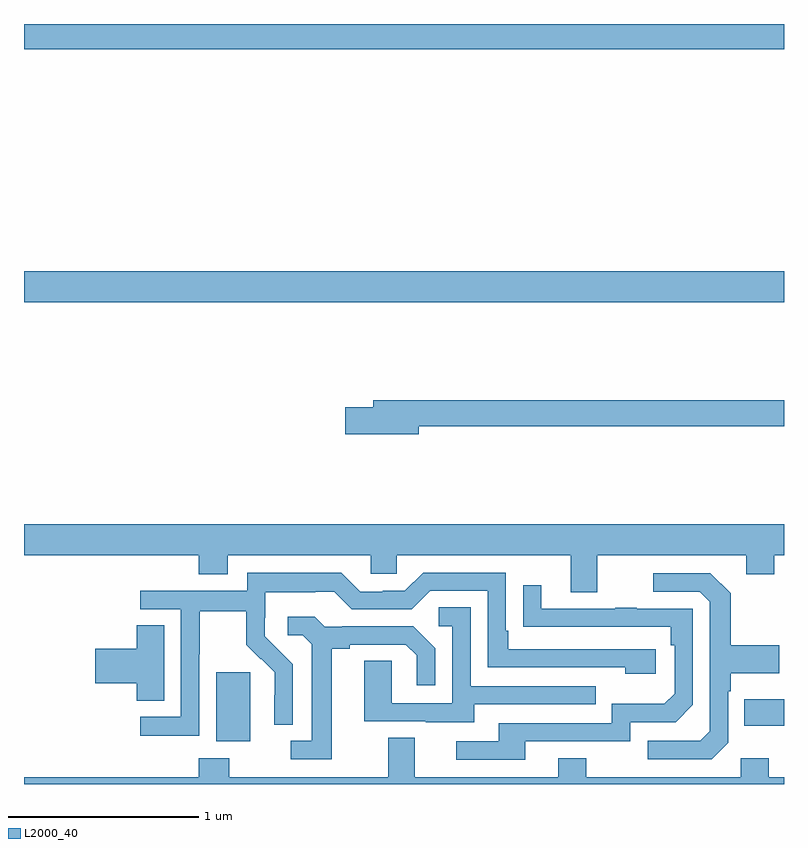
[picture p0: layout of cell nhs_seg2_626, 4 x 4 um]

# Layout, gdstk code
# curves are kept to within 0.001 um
import gdstk
lib = gdstk.Library(unit=1e-6, precision=1e-09)
def R(c, l, rs):  # rectangles x0, y0, x1, y1
    for r in rs: c.add(gdstk.rectangle(r[:2], r[2:], *l))
def P(c, l, *ps):  # polygons
    for p in ps: c.add(gdstk.Polygon(p, *l))
L2000_40 = (2000, 40)

nhs_seg2_626 = lib.new_cell('nhs_seg2_626')
R(nhs_seg2_626, L2000_40, [(144.011,612.026,144.19,612.387), (146.791,612.107,147,612.247), (143,614.336,147,614.5), (143,615.668,147,615.8)])
P(nhs_seg2_626, L2000_40, [(145.078,613.684),(147,613.684),(147,613.82),(144.839,613.82),(144.839,613.784),(144.69,613.784),(144.69,613.642),(145.078,613.642)],
  [(146.017,613.004),(146.801,613.004),(146.801,612.905),(146.949,612.905),(146.949,613.004),(147,613.004),(147,613.168),(143,613.168),(143,613.004),(143.921,613.004),(143.921,612.905),(144.073,612.905),(144.073,613.004),(144.825,613.004),(144.825,612.906),(144.963,612.906),(144.963,613.004),(145.877,613.004),(145.877,612.81),(146.017,612.81)],
  [(143.922,612.484),(143.925,612.484),(143.925,612.708),(144.169,612.708),(144.169,612.533),(144.246,612.456),(144.249,612.459),(144.32,612.389),(144.32,612.266),(144.318,612.266),(144.318,612.112),(144.414,612.112),(144.414,612.43),(144.268,612.578),(144.268,612.675),(144.27,612.675),(144.27,612.809),(144.533,612.809),(144.533,612.813),(144.633,612.813),(144.726,612.72),(145.041,612.72),(145.137,612.816),(145.44,612.816),(145.44,612.414),(146.165,612.414),(146.165,612.38),(146.326,612.38),(146.326,612.51),(145.549,612.51),(145.549,612.607),(145.536,612.607),(145.536,612.912),(145.101,612.912),(145.005,612.816),(144.887,612.816),(144.887,612.813),(144.771,612.813),(144.671,612.913),(144.174,612.913),(144.174,612.816),(143.613,612.816),(143.613,612.72),(143.826,612.72),(143.826,612.153),(143.613,612.153),(143.613,612.055),(143.922,612.055)],
  [(146.706,612.018),(146.706,612.287),(146.719,612.287),(146.719,612.383),(146.975,612.383),(146.975,612.531),(146.719,612.531),(146.719,612.803),(146.613,612.909),(146.313,612.909),(146.313,612.813),(146.556,612.813),(146.61,612.759),(146.61,612.078),(146.559,612.027),(146.283,612.027),(146.283,611.931),(146.619,611.931)],
  [(145.639,612.024),(146.19,612.024),(146.19,612.126),(146.43,612.126),(146.52,612.216),(146.52,612.723),(146.225,612.723),(146.225,612.728),(146.113,612.728),(146.113,612.723),(145.723,612.723),(145.723,612.847),(145.627,612.847),(145.627,612.628),(146.404,612.627),(146.404,612.53),(146.424,612.53),(146.424,612.276),(146.371,612.223),(146.094,612.223),(146.094,612.12),(145.499,612.12),(145.499,612.024),(145.275,612.024),(145.275,611.928),(145.639,611.928)],
  [(145.369,612.219),(146.009,612.219),(146.009,612.315),(145.35,612.315),(145.35,612.731),(145.182,612.731),(145.182,612.63),(145.254,612.63),(145.254,612.225),(144.936,612.225),(144.936,612.449),(144.791,612.449),(144.791,612.129),(145.115,612.129),(145.115,612.125),(145.369,612.125)],
  [(144.619,612.512),(144.715,612.512),(144.715,612.534),(145.01,612.534),(145.067,612.477),(145.067,612.321),(145.164,612.321),(145.164,612.514),(145.048,612.63),(144.676,612.63),(144.676,612.627),(144.582,612.627),(144.53,612.679),(144.387,612.679),(144.387,612.582),(144.468,612.582),(144.515,612.535),(144.515,612.027),(144.405,612.027),(144.405,611.931),(144.619,611.931)],
  [(143.737,612.635),(143.594,612.635),(143.594,612.512),(143.376,612.512),(143.376,612.329),(143.594,612.329),(143.594,612.238),(143.737,612.238)],
  [(147,611.836),(146.919,611.836),(146.919,611.935),(146.772,611.935),(146.772,611.836),(145.959,611.836),(145.959,611.935),(145.811,611.935),(145.811,611.836),(145.057,611.836),(145.057,612.044),(144.917,612.044),(144.917,611.836),(144.081,611.836),(144.081,611.935),(143.921,611.935),(143.921,611.836),(143,611.836),(143,611.8),(147,611.8)])

lib.write_gds('nhs_seg2_626.gds')
